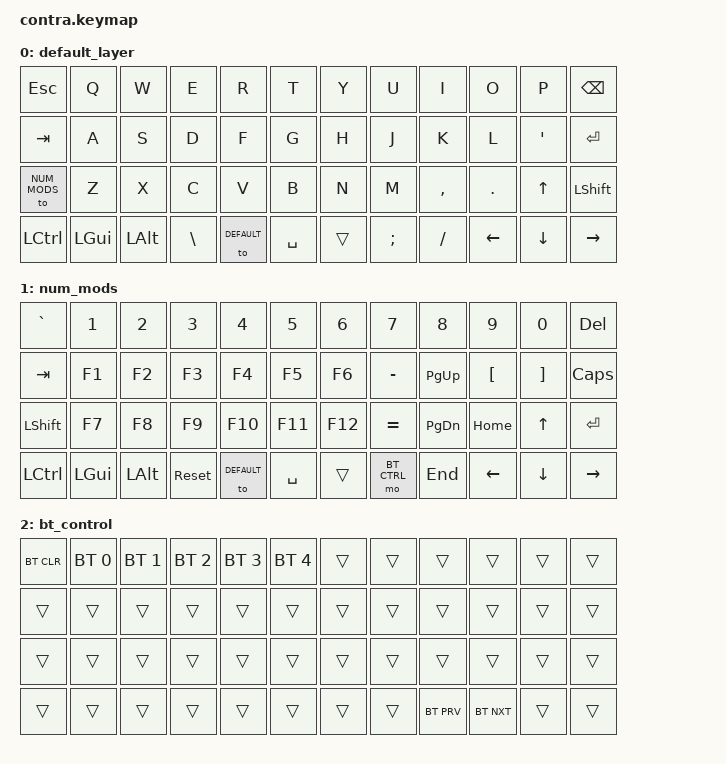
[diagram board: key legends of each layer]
/*
 * Copyright (c) 2021 The ZMK Contributors
 *
 * SPDX-License-Identifier: MIT
 */

#include <behaviors.dtsi>
#include <dt-bindings/zmk/keys.h>
#include <dt-bindings/zmk/bt.h>

#define DEFAULT  0
#define NUM_MODS 1
#define BT_CTRL  2

/ {
    keymap {
        compatible = "zmk,keymap";

        default_layer {
            // ,-----------------------------------------------------------------------.
            // | esc |  Q  |  W  |  E  |  R  |  T  |  Y  |  U  |  I  |  O  |  P  | del |
            // |-----+-----+-----+-----+-----|-----+-----+-----+-----+-----|-----|-----|
            // | tab |  A  |  S  |  D  |  F  |  G  |  H  |  J  |  K  |  L  | ' " |enter|
            // |-----+-----+-----+-----+-----|-----+-----+-----+-----+-----|-----|-----|
            // | num |  Z  |  X  |  C  |  V  |  B  |  N  |  M  | , < | . > |  up |shift|
            // |-----+-----+-----+-----+-----|-----+-----+-----+-----+-----|-----|-----|
            // | ctrl| cmnd| alt | \ | | dflt|   space   | ; : | / ? | left| down|right|
            // `-----------------------------------------------------------------------'


            bindings = <
    &kp ESC      &kp Q     &kp W    &kp E     &kp R       &kp T      &kp Y     &kp U        &kp I     &kp O     &kp P    &kp BSPC
    &kp TAB      &kp A     &kp S    &kp D     &kp F       &kp G      &kp H     &kp J        &kp K     &kp L     &kp SQT  &kp ENTER
    &to NUM_MODS &kp Z     &kp X    &kp C     &kp V       &kp B      &kp N     &kp M        &kp COMMA &kp DOT   &kp UP   &kp LSHIFT
    &kp LCTRL    &kp LGUI  &kp LALT &kp BSLH  &to DEFAULT &kp SPACE  &trans    &kp SEMI     &kp FSLH  &kp LEFT  &kp DOWN &kp RIGHT
            >;
        };

        num_mods {
            // ,-----------------------------------------------------------------------.
            // | ` ~ |  1  |  2  |  3  |  4  |  5  |  6  |  7  |  8  |  9  |  0  | del |
            // |-----+-----+-----+-----+-----|-----+-----+-----+-----+-----|-----|-----|
            // | tab |  F1 |  F2 |  F3 |  F4 |  F5 |  F6 | - _ | pgup| [ { | ] } | caps|
            // |-----+-----+-----+-----+-----|-----+-----+-----+-----+-----|-----|-----|
            // |shift|  F7 |  F8 |  F9 | F10 | F11 | F12 | = + |pgdwn| home|  up |enter|
            // |-----+-----+-----+-----+-----|-----+-----+-----+-----+-----|-----|-----|
            // | ctrl| cmnd| alt |reset| dflt|    SPC    |  bt | end |left | down|right|
            // `-----------------------------------------------------------------------'

            bindings = <
    &kp GRAVE &kp N1    &kp N2   &kp N3       &kp N4      &kp N5     &kp N6    &kp N7      &kp N8    &kp N9    &kp N0   &kp DEL
    &kp TAB   &kp F1    &kp F2   &kp F3       &kp F4      &kp F5     &kp F6    &kp MINUS   &kp PG_UP &kp LBKT  &kp RBKT &kp CAPS
    &kp LSHFT &kp F7    &kp F8   &kp F9       &kp F10     &kp F11    &kp F12   &kp EQUAL   &kp PG_DN &kp HOME  &kp UP   &kp ENTER
    &kp LCTRL &kp LGUI  &kp LALT &sys_reset   &to DEFAULT &kp SPACE  &trans    &mo BT_CTRL &kp END   &kp LEFT  &kp DOWN &kp RIGHT
            >;
        };

        bt_control {
            // ,-------------------------------------------------------------------------------.
            // |bt_clr|bt_sel|bt_sel|bt_sel|bt_sel|bt_sel|     |     |      |      |     |     |
            // |------+------+------+------+------|------+-----+-----+------+------|-----|-----|
            // |      |      |      |      |      |      |     |     |      |      |     |     |
            // |------+------+------+------+------|------+-----+-----+------+------|-----|-----|
            // |      |      |      |      |      |      |     |     |      |      |     |     |
            // |------+------+------+------+------|------+-----+-----+------+------|-----|-----|
            // |      |      |      |      |      |            |     |bt_prv|bt_nxt|     |     |
            // `-------------------------------------------------------------------------------'

            bindings = <
    &bt BT_CLR &bt BT_SEL 0 &bt BT_SEL 1 &bt BT_SEL 2 &bt BT_SEL 3 &bt BT_SEL 4 &trans    &trans    &trans     &trans     &trans   &trans
    &trans     &trans       &trans       &trans       &trans       &trans       &trans    &trans    &trans     &trans     &trans   &trans
    &trans     &trans       &trans       &trans       &trans       &trans       &trans    &trans    &trans     &trans     &trans   &trans
    &trans     &trans       &trans       &trans       &trans       &trans       &trans    &trans    &bt BT_PRV &bt BT_NXT &trans   &trans
           >;
        };
    };
};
